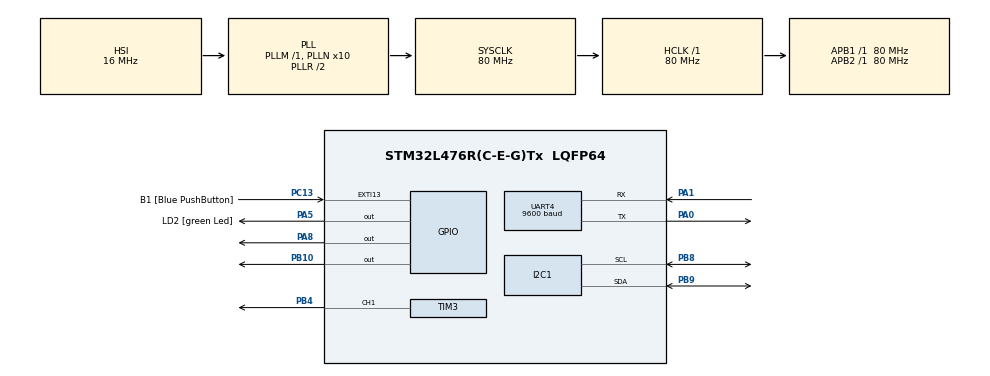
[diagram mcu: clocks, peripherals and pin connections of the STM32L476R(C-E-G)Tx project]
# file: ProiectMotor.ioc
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I2C1.Timing=0x10D19CE4
Mcu.Family=STM32L4
Mcu.Name=STM32L476R(C-E-G)Tx
Mcu.Package=LQFP64
NVIC.PriorityGroup=NVIC_PRIORITYGROUP_4
NVIC.UART4_IRQn=true\:0\:0\:false\:false\:true\:true\:true\:true
PA0.Mode=Asynchronous
PA0.Signal=UART4_TX
PA1.Mode=Asynchronous
PA1.Signal=UART4_RX
PA13\ (JTMS-SWDIO).GPIO_Label=TMS
PA13\ (JTMS-SWDIO).Mode=Serial_Wire
PA13\ (JTMS-SWDIO).Signal=SYS_JTMS-SWDIO
PA14\ (JTCK-SWCLK).GPIO_Label=TCK
PA14\ (JTCK-SWCLK).Mode=Serial_Wire
PA14\ (JTCK-SWCLK).Signal=SYS_JTCK-SWCLK
PA5.GPIO_Label=LD2 [green Led]
PA5.GPIO_ModeDefaultOutputPP=GPIO_MODE_OUTPUT_PP
PA5.GPIO_PuPd=GPIO_NOPULL
PA5.GPIO_Speed=GPIO_SPEED_FREQ_LOW
PA5.Signal=GPIO_Output
PA8.Signal=GPIO_Output
PB10.Signal=GPIO_Output
PB4\ (NJTRST).Signal=S_TIM3_CH1
PB8.Mode=I2C
PB8.Signal=I2C1_SCL
PB9.Mode=I2C
PB9.Signal=I2C1_SDA
PC13.GPIO_Label=B1 [Blue PushButton]
PC13.GPIO_ModeDefaultEXTI=GPIO_MODE_IT_FALLING
PC13.GPIO_PuPd=GPIO_NOPULL
PC13.Signal=GPXTI13
PC14-OSC32_IN\ (PC14).Mode=LSE-External-Oscillator
PC14-OSC32_IN\ (PC14).Signal=RCC_OSC32_IN
PC15-OSC32_OUT\ (PC15).Mode=LSE-External-Oscillator
PC15-OSC32_OUT\ (PC15).Signal=RCC_OSC32_OUT
PH0-OSC_IN\ (PH0).Signal=RCC_OSC_IN
PH1-OSC_OUT\ (PH1).Signal=RCC_OSC_OUT
ProjectManager.HeapSize=0x200
ProjectManager.StackSize=0x400
ProjectManager.TargetToolchain=STM32CubeIDE
RCC.ADCFreq_Value=64000000
RCC.AHBFreq_Value=80000000
RCC.APB1Freq_Value=80000000
RCC.APB1TimFreq_Value=80000000
RCC.APB2Freq_Value=80000000
RCC.APB2TimFreq_Value=80000000
RCC.CortexFreq_Value=80000000
RCC.HCLKFreq_Value=80000000
RCC.HSE_VALUE=8000000
RCC.HSI_VALUE=16000000
RCC.MSI_VALUE=4000000
RCC.PLLN=10
RCC.PLLSourceVirtual=RCC_PLLSOURCE_HSI
RCC.PREFETCH_ENABLE=1
RCC.SYSCLKFreq_VALUE=80000000
RCC.SYSCLKSource=RCC_SYSCLKSOURCE_PLLCLK
RCC.USBFreq_Value=64000000
RCC.VCOOutputFreq_Value=160000000
SH.S_TIM3_CH1.0=TIM3_CH1,PWM Generation1 CH1
TIM3.Channel-PWM\ Generation1\ CH1=TIM_CHANNEL_1
TIM3.Period=1000
UART4.BaudRate=9600
board=NUCLEO-L476RG

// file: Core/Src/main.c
/* USER CODE BEGIN Header */
/**
  ******************************************************************************
  * @file           : main.c
  * @brief          : Main program body
  ******************************************************************************
  */
/* USER CODE END Header */

#include "main.h"

#include <stdlib.h>

I2C_HandleTypeDef hi2c1;

TIM_HandleTypeDef htim3;

UART_HandleTypeDef huart4;

/* USER CODE BEGIN PV */

uint8_t rx_byte;
char rx_buffer[10];
uint8_t rx_index = 0;

/* USER CODE END PV */

void SystemClock_Config(void);
static void MX_GPIO_Init(void);
static void MX_TIM3_Init(void);
static void MX_UART4_Init(void);
static void MX_I2C1_Init(void);

/* USER CODE BEGIN 0 */

void HAL_UART_RxCpltCallback(UART_HandleTypeDef *huart)
{
    if(huart->Instance == UART4)
    {
        // ENTER primit
        if(rx_byte == '\n' || rx_byte == '\r')
        {
            if(rx_index > 0)
            {
                // terminare string
                rx_buffer[rx_index] = '\0';

                // conversie text -> numar
                int angle = atoi(rx_buffer);

                // limitare
                if(angle > 90)
                    angle = 90;

                if(angle < -90)
                    angle = -90;

                // calcul PWM
                uint32_t pwm_value = (abs(angle) * 1000) / 90;

                // control motor
                if(angle > 5)
                {
                    // sens 1
                    HAL_GPIO_WritePin(GPIOB, GPIO_PIN_10, GPIO_PIN_SET);
                    HAL_GPIO_WritePin(GPIOA, GPIO_PIN_8, GPIO_PIN_RESET);

                    __HAL_TIM_SET_COMPARE(&htim3, TIM_CHANNEL_1, pwm_value);
                }
                else if(angle < -5)
                {
                    // sens 2
                    HAL_GPIO_WritePin(GPIOB, GPIO_PIN_10, GPIO_PIN_RESET);
                    HAL_GPIO_WritePin(GPIOA, GPIO_PIN_8, GPIO_PIN_SET);

                    __HAL_TIM_SET_COMPARE(&htim3, TIM_CHANNEL_1, pwm_value);
                }
                else
                {
                    // STOP
                    HAL_GPIO_WritePin(GPIOB, GPIO_PIN_10, GPIO_PIN_RESET);
                    HAL_GPIO_WritePin(GPIOA, GPIO_PIN_8, GPIO_PIN_RESET);

                    __HAL_TIM_SET_COMPARE(&htim3, TIM_CHANNEL_1, 0);
                }

                // reset buffer
                rx_index = 0;

                // blink LED
                HAL_GPIO_TogglePin(GPIOA, LD2_Pin);
            }
        }
        else
        {
            // salvare caracter
            if(rx_index < sizeof(rx_buffer) - 1)
            {
                rx_buffer[rx_index++] = rx_byte;
            }
        }

        // repornire UART interrupt
        HAL_UART_Receive_IT(&huart4, &rx_byte, 1);
    }
}

/* USER CODE END 0 */

int main(void)
{
  HAL_Init();

  SystemClock_Config();

  MX_GPIO_Init();
  MX_TIM3_Init();
  MX_UART4_Init();
  MX_I2C1_Init();

  /* USER CODE BEGIN 2 */

  // pornire PWM
  HAL_TIM_PWM_Start(&htim3, TIM_CHANNEL_1);

  // pornire UART interrupt
  HAL_UART_Receive_IT(&huart4, &rx_byte, 1);

  /* USER CODE END 2 */

  while (1)
  {

  }
}

void SystemClock_Config(void)
{
  RCC_OscInitTypeDef RCC_OscInitStruct = {0};
  RCC_ClkInitTypeDef RCC_ClkInitStruct = {0};

  if (HAL_PWREx_ControlVoltageScaling(PWR_REGULATOR_VOLTAGE_SCALE1) != HAL_OK)
  {
    Error_Handler();
  }

  RCC_OscInitStruct.OscillatorType = RCC_OSCILLATORTYPE_HSI;
  RCC_OscInitStruct.HSIState = RCC_HSI_ON;
  RCC_OscInitStruct.HSICalibrationValue = RCC_HSICALIBRATION_DEFAULT;
  RCC_OscInitStruct.PLL.PLLState = RCC_PLL_ON;
  RCC_OscInitStruct.PLL.PLLSource = RCC_PLLSOURCE_HSI;
  RCC_OscInitStruct.PLL.PLLM = 1;
  RCC_OscInitStruct.PLL.PLLN = 10;
  RCC_OscInitStruct.PLL.PLLP = RCC_PLLP_DIV7;
  RCC_OscInitStruct.PLL.PLLQ = RCC_PLLQ_DIV2;
  RCC_OscInitStruct.PLL.PLLR = RCC_PLLR_DIV2;

  if (HAL_RCC_OscConfig(&RCC_OscInitStruct) != HAL_OK)
  {
    Error_Handler();
  }

  RCC_ClkInitStruct.ClockType = RCC_CLOCKTYPE_HCLK
                              | RCC_CLOCKTYPE_SYSCLK
                              | RCC_CLOCKTYPE_PCLK1
                              | RCC_CLOCKTYPE_PCLK2;

  RCC_ClkInitStruct.SYSCLKSource = RCC_SYSCLKSOURCE_PLLCLK;
  RCC_ClkInitStruct.AHBCLKDivider = RCC_SYSCLK_DIV1;
  RCC_ClkInitStruct.APB1CLKDivider = RCC_HCLK_DIV1;
  RCC_ClkInitStruct.APB2CLKDivider = RCC_HCLK_DIV1;

  if (HAL_RCC_ClockConfig(&RCC_ClkInitStruct, FLASH_LATENCY_4) != HAL_OK)
  {
    Error_Handler();
  }
}

static void MX_I2C1_Init(void)
{
  hi2c1.Instance = I2C1;
  hi2c1.Init.Timing = 0x10D19CE4;
  hi2c1.Init.OwnAddress1 = 0;
  hi2c1.Init.AddressingMode = I2C_ADDRESSINGMODE_7BIT;
  hi2c1.Init.DualAddressMode = I2C_DUALADDRESS_DISABLE;
  hi2c1.Init.OwnAddress2 = 0;
  hi2c1.Init.OwnAddress2Masks = I2C_OA2_NOMASK;
  hi2c1.Init.GeneralCallMode = I2C_GENERALCALL_DISABLE;
  hi2c1.Init.NoStretchMode = I2C_NOSTRETCH_DISABLE;

  if (HAL_I2C_Init(&hi2c1) != HAL_OK)
  {
    Error_Handler();
  }

  if (HAL_I2CEx_ConfigAnalogFilter(&hi2c1, I2C_ANALOGFILTER_ENABLE) != HAL_OK)
  {
    Error_Handler();
  }

  if (HAL_I2CEx_ConfigDigitalFilter(&hi2c1, 0) != HAL_OK)
  {
    Error_Handler();
  }
}

static void MX_TIM3_Init(void)
{
  TIM_MasterConfigTypeDef sMasterConfig = {0};
  TIM_OC_InitTypeDef sConfigOC = {0};

  htim3.Instance = TIM3;
  htim3.Init.Prescaler = 79;
  htim3.Init.CounterMode = TIM_COUNTERMODE_UP;
  htim3.Init.Period = 1000;
  htim3.Init.ClockDivision = TIM_CLOCKDIVISION_DIV1;
  htim3.Init.AutoReloadPreload = TIM_AUTORELOAD_PRELOAD_DISABLE;

  if (HAL_TIM_PWM_Init(&htim3) != HAL_OK)
  {
    Error_Handler();
  }

  sMasterConfig.MasterOutputTrigger = TIM_TRGO_RESET;
  sMasterConfig.MasterSlaveMode = TIM_MASTERSLAVEMODE_DISABLE;

  if (HAL_TIMEx_MasterConfigSynchronization(&htim3, &sMasterConfig) != HAL_OK)
  {
    Error_Handler();
  }

  sConfigOC.OCMode = TIM_OCMODE_PWM1;
  sConfigOC.Pulse = 0;
  sConfigOC.OCPolarity = TIM_OCPOLARITY_HIGH;
  sConfigOC.OCFastMode = TIM_OCFAST_DISABLE;

  if (HAL_TIM_PWM_ConfigChannel(&htim3, &sConfigOC, TIM_CHANNEL_1) != HAL_OK)
  {
    Error_Handler();
  }

  HAL_TIM_MspPostInit(&htim3);
}

static void MX_UART4_Init(void)
{
  huart4.Instance = UART4;
  huart4.Init.BaudRate = 9600;
  huart4.Init.WordLength = UART_WORDLENGTH_8B;
  huart4.Init.StopBits = UART_STOPBITS_1;
  huart4.Init.Parity = UART_PARITY_NONE;
  huart4.Init.Mode = UART_MODE_TX_RX;
  huart4.Init.HwFlowCtl = UART_HWCONTROL_NONE;
  huart4.Init.OverSampling = UART_OVERSAMPLING_16;
  huart4.Init.OneBitSampling = UART_ONE_BIT_SAMPLE_DISABLE;
  huart4.AdvancedInit.AdvFeatureInit = UART_ADVFEATURE_NO_INIT;

  if (HAL_UART_Init(&huart4) != HAL_OK)
  {
    Error_Handler();
  }
}

static void MX_GPIO_Init(void)
{
  GPIO_InitTypeDef GPIO_InitStruct = {0};

  __HAL_RCC_GPIOC_CLK_ENABLE();
  __HAL_RCC_GPIOH_CLK_ENABLE();
  __HAL_RCC_GPIOA_CLK_ENABLE();
  __HAL_RCC_GPIOB_CLK_ENABLE();

  // output initial state
  HAL_GPIO_WritePin(GPIOA, LD2_Pin | GPIO_PIN_8, GPIO_PIN_RESET);
  HAL_GPIO_WritePin(GPIOB, GPIO_PIN_10, GPIO_PIN_RESET);

  // LED + PA8
  GPIO_InitStruct.Pin = LD2_Pin | GPIO_PIN_8;
  GPIO_InitStruct.Mode = GPIO_MODE_OUTPUT_PP;
  GPIO_InitStruct.Pull = GPIO_NOPULL;
  GPIO_InitStruct.Speed = GPIO_SPEED_FREQ_LOW;
  HAL_GPIO_Init(GPIOA, &GPIO_InitStruct);

  // PB10
  GPIO_InitStruct.Pin = GPIO_PIN_10;
  GPIO_InitStruct.Mode = GPIO_MODE_OUTPUT_PP;
  GPIO_InitStruct.Pull = GPIO_NOPULL;
  GPIO_InitStruct.Speed = GPIO_SPEED_FREQ_LOW;
  HAL_GPIO_Init(GPIOB, &GPIO_InitStruct);
}

void Error_Handler(void)
{
  __disable_irq();

  while (1)
  {

  }
}
